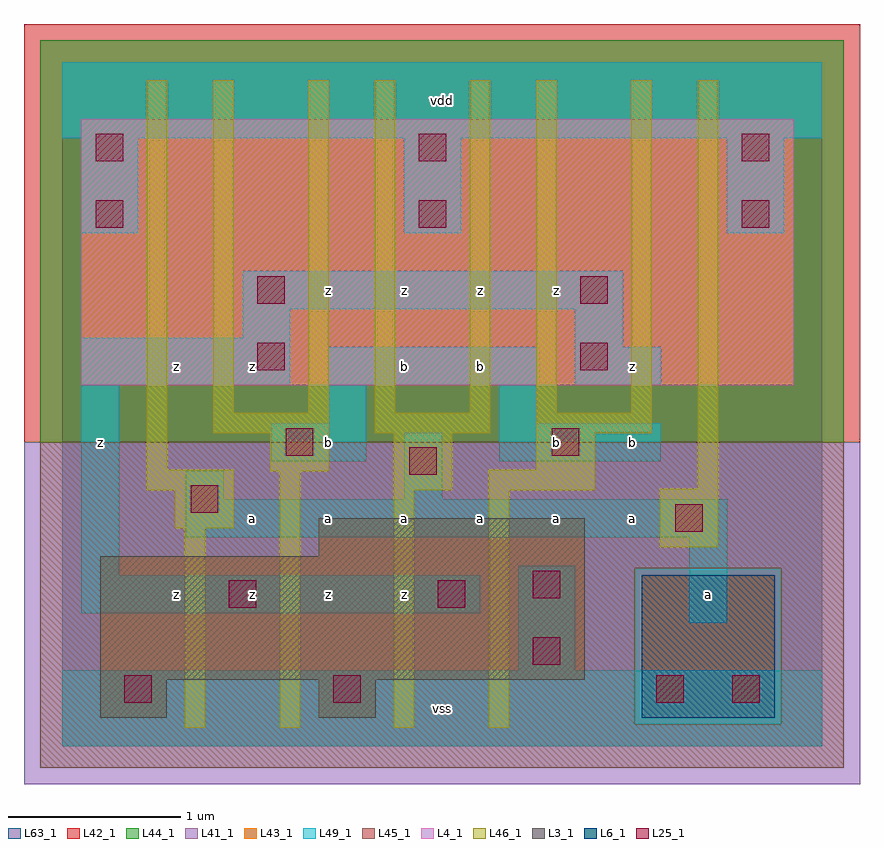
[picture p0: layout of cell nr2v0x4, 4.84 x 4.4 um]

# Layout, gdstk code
import gdstk
lib = gdstk.Library(unit=1e-6, precision=1e-09)
def R(c, l, rs):  # rectangles x0, y0, x1, y1
    for r in rs: c.add(gdstk.rectangle(r[:2], r[2:], *l))
def A(c, l, x, y, w, h, nx, ny, dx, dy):  # array of equal rectangles
    R(c, l, [(x+i*dx, y+j*dy, x+i*dx+w, y+j*dy+h) for i in range(nx) for j in range(ny)])
L3_1 = (3, 1)
L4_1 = (4, 1)
L6_1 = (6, 1)
L25_1 = (25, 1)
L41_1 = (41, 1)
L42_1 = (42, 1)
L43_1 = (43, 1)
L44_1 = (44, 1)
L45_1 = (45, 1)
L46_1 = (46, 1)
L49_1 = (49, 1)
L63_1 = (63, 1)

nr2v0x4 = lib.new_cell('nr2v0x4')
R(nr2v0x4, L3_1, [(0.22,0.165,0.605,0.385), (1.485,0.165,1.815,0.385), (0.22,0.385,3.025,1.1), (1.485,1.1,3.025,1.32)])
R(nr2v0x4, L4_1, [(0.11,2.09,4.235,3.63)])
R(nr2v0x4, L6_1, [(3.355,0.165,4.125,0.99)])
A(nr2v0x4, L25_1, 0.195, 3, 0.16, 0.16, 3, 2, 1.87, 0.385)
R(nr2v0x4, L25_1, [(0.36,0.25,0.52,0.41), (1.57,0.25,1.73,0.41), (3.44,0.25,3.6,0.41), (3.88,0.25,4.04,0.41), (2.725,0.47,2.885,0.63), (0.965,0.8,1.125,0.96), (2.175,0.8,2.335,0.96), (2.725,0.855,2.885,1.015), (3.55,1.24,3.71,1.4), (0.745,1.35,0.905,1.51), (2.01,1.57,2.17,1.73), (1.295,1.68,1.455,1.84), (2.835,1.68,2.995,1.84), (1.13,2.175,1.29,2.335), (3,2.175,3.16,2.335), (1.13,2.56,1.29,2.72), (3,2.56,3.16,2.72)])
R(nr2v0x4, L41_1, [(-0.22,-0.22,4.62,1.76)])
R(nr2v0x4, L42_1, [(-0.22,1.76,4.62,4.18)])
R(nr2v0x4, L43_1, [(0.22,0.165,0.605,0.385), (1.485,0.165,1.815,0.385), (3.355,0.165,4.125,0.99), (0.22,0.385,3.025,1.1), (1.485,1.1,3.025,1.32), (0.11,2.09,4.235,3.63)])
R(nr2v0x4, L44_1, [(3.315,0.125,4.165,1.03), (-0.125,1.76,4.525,4.085)])
R(nr2v0x4, L45_1, [(-0.125,-0.125,4.525,0.125), (-0.125,0.125,3.315,1.03), (4.165,0.125,4.525,1.03), (-0.125,1.03,4.525,1.76)])
A(nr2v0x4, L46_1, 0.875, 1.81, 0.67, 0.12, 3, 1, 0.935, 0)
R(nr2v0x4, L46_1, [(0.71,0.105,0.83,1.26), (1.26,0.105,1.38,1.59), (1.92,0.105,2.04,1.48), (2.47,0.105,2.59,1.48), (3.46,1.15,3.8,1.49), (0.655,1.26,0.995,1.48), (0.49,1.48,0.995,1.6), (1.92,1.48,2.26,1.81), (2.47,1.48,3.085,1.6), (3.68,1.49,3.8,3.855), (1.205,1.59,1.545,1.81), (0.49,1.6,0.61,3.855), (2.745,1.6,3.085,1.81), (0.875,1.93,0.995,3.855), (1.425,1.93,1.545,3.855), (1.81,1.93,1.93,3.855), (2.36,1.93,2.48,3.855), (2.745,1.93,2.865,3.855), (3.295,1.93,3.415,3.855)])
A(nr2v0x4, L49_1, 0.11, 2.97, 0.33, 0.55, 3, 1, 1.87, 0)
R(nr2v0x4, L49_1, [(0,0,4.4,0.44), (2.64,0.44,2.97,1.045), (3.63,0.715,3.85,1.21), (0.11,0.77,2.42,0.99), (0.11,0.99,0.33,2.09), (0.715,1.21,3.85,1.43), (0.715,1.43,0.935,1.595), (1.98,1.43,2.2,1.815), (1.21,1.65,1.76,1.87), (2.53,1.65,3.465,1.87), (1.54,1.87,1.76,2.09), (2.53,1.87,2.75,2.09), (0.11,2.09,1.32,2.365), (1.54,2.09,2.75,2.31), (2.97,2.09,3.465,2.31), (2.97,2.31,3.245,2.53), (1.045,2.365,1.32,2.53), (1.045,2.53,3.245,2.75), (0,3.52,4.4,3.96)])
R(nr2v0x4, L63_1, [(0,0,4.4,3.96)])
nr2v0x4.add(gdstk.Label('z', (0.22,1.76), layer=49, texttype=1))
nr2v0x4.add(gdstk.Label('z', (1.1,0.88), layer=49, texttype=1))
nr2v0x4.add(gdstk.Label('z', (1.54,0.88), layer=49, texttype=1))
nr2v0x4.add(gdstk.Label('z', (0.66,0.88), layer=49, texttype=1))
nr2v0x4.add(gdstk.Label('a', (1.1,1.32), layer=49, texttype=1))
nr2v0x4.add(gdstk.Label('a', (1.54,1.32), layer=49, texttype=1))
nr2v0x4.add(gdstk.Label('b', (1.54,1.76), layer=49, texttype=1))
nr2v0x4.add(gdstk.Label('z', (0.66,2.2), layer=49, texttype=1))
nr2v0x4.add(gdstk.Label('z', (1.1,2.2), layer=49, texttype=1))
nr2v0x4.add(gdstk.Label('z', (1.54,2.64), layer=49, texttype=1))
nr2v0x4.add(gdstk.Label('vss', (2.2,0.22), layer=49, texttype=1))
nr2v0x4.add(gdstk.Label('z', (1.98,0.88), layer=49, texttype=1))
nr2v0x4.add(gdstk.Label('a', (1.98,1.32), layer=49, texttype=1))
nr2v0x4.add(gdstk.Label('a', (2.42,1.32), layer=49, texttype=1))
nr2v0x4.add(gdstk.Label('b', (1.98,2.2), layer=49, texttype=1))
nr2v0x4.add(gdstk.Label('b', (2.42,2.2), layer=49, texttype=1))
nr2v0x4.add(gdstk.Label('z', (1.98,2.64), layer=49, texttype=1))
nr2v0x4.add(gdstk.Label('z', (2.42,2.64), layer=49, texttype=1))
nr2v0x4.add(gdstk.Label('vdd', (2.2,3.74), layer=49, texttype=1))
nr2v0x4.add(gdstk.Label('a', (2.86,1.32), layer=49, texttype=1))
nr2v0x4.add(gdstk.Label('a', (3.3,1.32), layer=49, texttype=1))
nr2v0x4.add(gdstk.Label('b', (3.3,1.76), layer=49, texttype=1))
nr2v0x4.add(gdstk.Label('b', (2.86,1.76), layer=49, texttype=1))
nr2v0x4.add(gdstk.Label('z', (3.3,2.2), layer=49, texttype=1))
nr2v0x4.add(gdstk.Label('z', (2.86,2.64), layer=49, texttype=1))
nr2v0x4.add(gdstk.Label('a', (3.74,0.88), layer=49, texttype=1))

lib.write_gds('nr2v0x4.gds')
